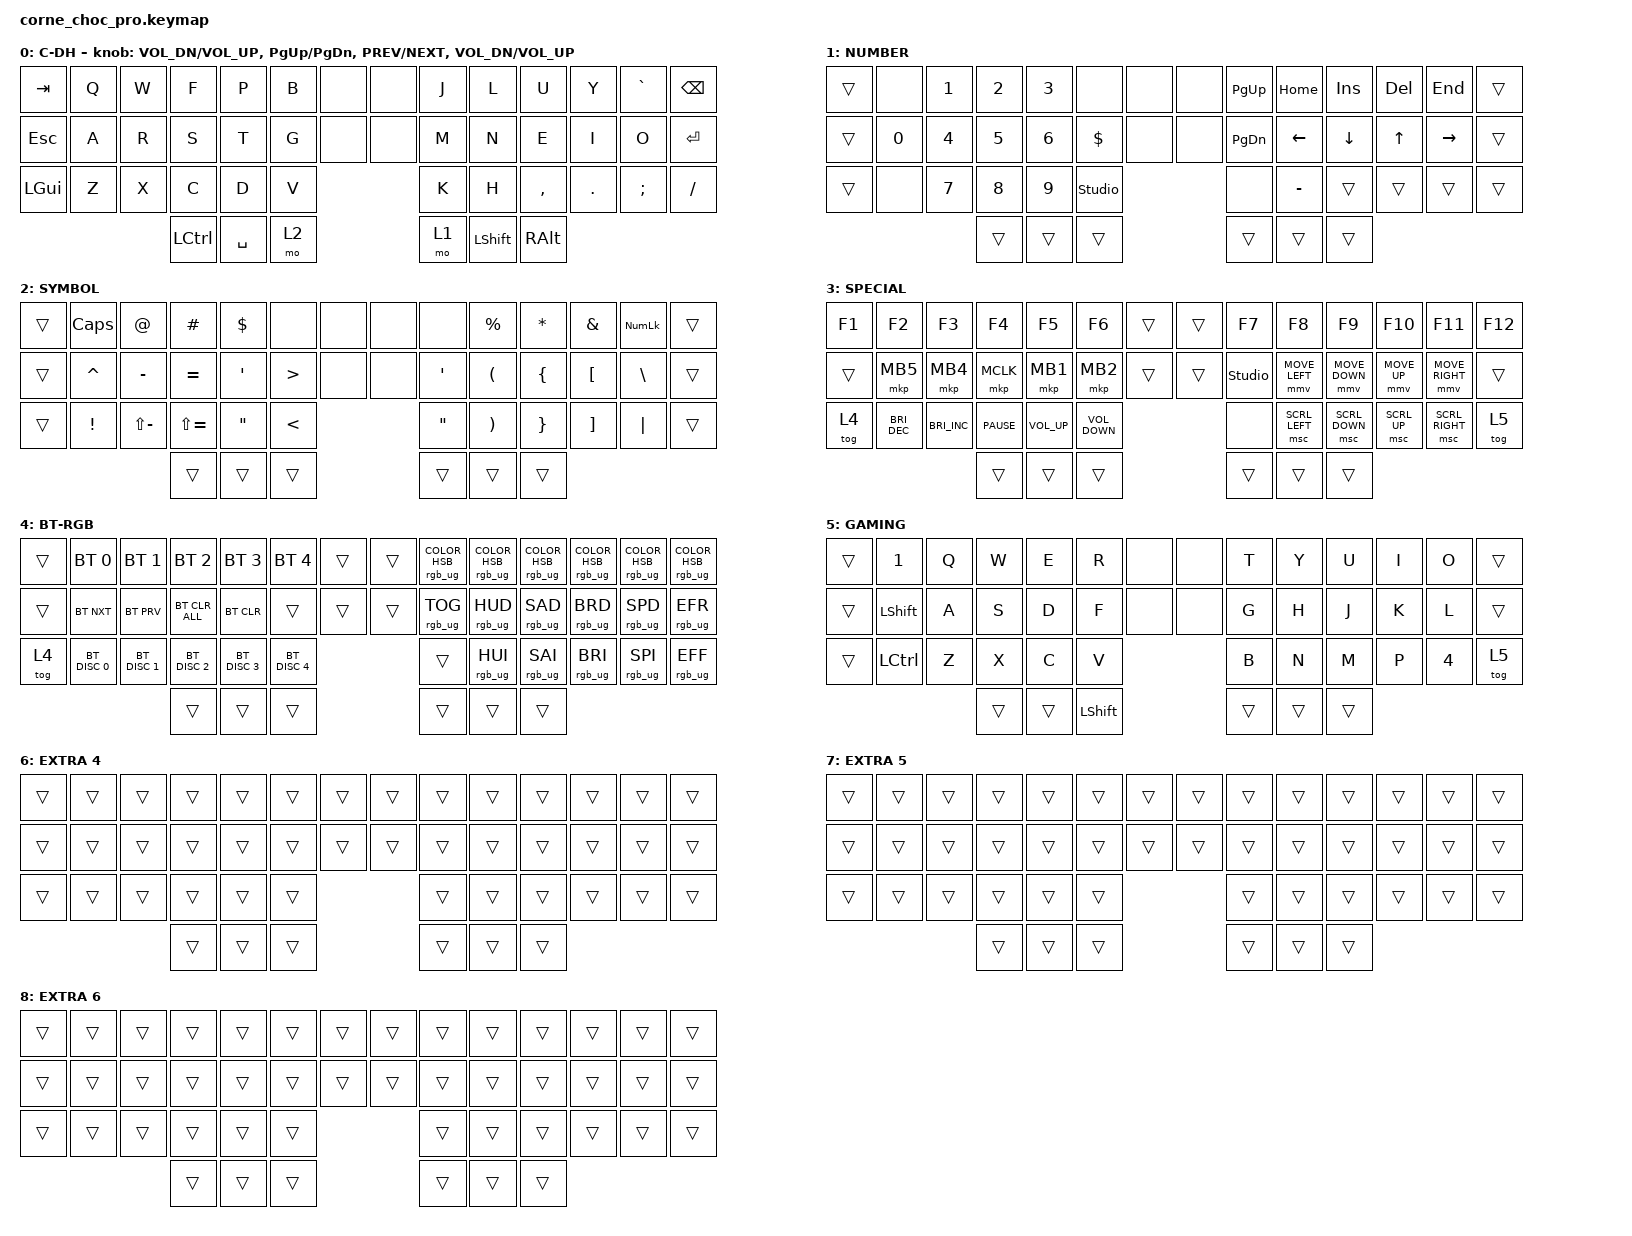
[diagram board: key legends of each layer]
#define ZMK_POINTING_DEFAULT_MOVE_VAL 1000  // default: 600
#define ZMK_POINTING_DEFAULT_SCRL_VAL 50    // default: 10

#include <behaviors.dtsi>
#include <dt-bindings/zmk/bt.h>
#include <dt-bindings/zmk/keys.h>
#include <dt-bindings/zmk/pointing.h>
#include <dt-bindings/zmk/rgb.h>

/ {
    chosen { zmk,physical-layout = &default_layout; };

    combos {
        compatible = "zmk,combos";

        layer_toggle {
            bindings = <&mo 3>;
            key-positions = <43 42>;
        };
    };

    keymap {
        compatible = "zmk,keymap";

        default_layer {
            display-name = "C-DH";
            bindings = <
&kp TAB       &kp Q  &kp W  &kp F             &kp P      &kp B  &none  &none  &kp J  &kp L           &kp U      &kp Y    &kp GRAVE  &kp BSPC
&kp ESCAPE    &kp A  &kp R  &kp S             &kp T      &kp G  &none  &none  &kp M  &kp N           &kp E      &kp I    &kp O      &kp ENTER
&kp LEFT_GUI  &kp Z  &kp X  &kp C             &kp D      &kp V                &kp K  &kp H           &kp COMMA  &kp DOT  &kp SEMI   &kp SLASH
                            &kp LEFT_CONTROL  &kp SPACE  &mo 2                &mo 1  &kp LEFT_SHIFT  &kp RALT
            >;

            sensor-bindings = <&inc_dec_kp C_VOL_DN C_VOL_UP &inc_dec_kp PG_UP PG_DN &inc_dec_kp C_PREV C_NEXT &inc_dec_kp C_VOL_DN C_VOL_UP>;
        };

        lower_layer {
            display-name = "NUMBER";
            bindings = <
&trans  &none   &kp NUMBER_1  &kp NUMBER_2  &kp NUMBER_3  &none           &none  &none  &kp PAGE_UP    &kp HOME   &kp INS   &kp DEL       &kp END    &trans
&trans  &kp N0  &kp NUMBER_4  &kp N5        &kp NUMBER_6  &kp DOLLAR      &none  &none  &kp PAGE_DOWN  &kp LEFT   &kp DOWN  &kp UP_ARROW  &kp RIGHT  &trans
&trans  &none   &kp N7        &kp N8        &kp N9        &studio_unlock                &none          &kp MINUS  &trans    &trans        &trans     &trans
                              &trans        &trans        &trans                        &trans         &trans     &trans
            >;
        };

        raise_layer {
            display-name = "SYMBOL";
            bindings = <
&trans  &kp CAPSLOCK  &kp AT         &kp HASH       &kp DLLR           &none             &none  &none  &none              &kp PERCENT            &kp ASTERISK     &kp AMPERSAND      &kp KP_NUMLOCK  &trans
&trans  &kp CARET     &kp MINUS      &kp EQUAL      &kp SINGLE_QUOTE   &kp GREATER_THAN  &none  &none  &kp SINGLE_QUOTE   &kp LEFT_PARENTHESIS   &kp LEFT_BRACE   &kp LEFT_BRACKET   &kp BSLH        &trans
&trans  &kp EXCL      &kp LS(MINUS)  &kp LS(EQUAL)  &kp DOUBLE_QUOTES  &kp LESS_THAN                   &kp DOUBLE_QUOTES  &kp RIGHT_PARENTHESIS  &kp RIGHT_BRACE  &kp RIGHT_BRACKET  &kp PIPE        &trans
                                     &trans         &trans             &trans                          &trans             &trans                 &trans
            >;
        };

        SPECIAL {
            display-name = "SPECIAL";
            bindings = <
&kp F1  &kp F2                &kp F3                &kp F4       &kp F5           &kp F6             &trans  &trans  &kp F7          &kp F8          &kp F9          &kp F10       &kp F11          &kp F12
&trans  &mkp MB5              &mkp MB4              &mkp MCLK    &mkp MB1         &mkp MB2           &trans  &trans  &studio_unlock  &mmv MOVE_LEFT  &mmv MOVE_DOWN  &mmv MOVE_UP  &mmv MOVE_RIGHT  &trans
&tog 4  &kp C_BRIGHTNESS_DEC  &kp C_BRIGHTNESS_INC  &kp C_PAUSE  &kp C_VOLUME_UP  &kp C_VOLUME_DOWN                  &none           &msc SCRL_LEFT  &msc SCRL_DOWN  &msc SCRL_UP  &msc SCRL_RIGHT  &tog 5
                                                    &trans       &trans           &trans                             &trans          &trans          &trans
            >;
        };

        BT-RGB {
            display-name = "BT-RGB";
            bindings = <
&trans  &bt BT_SEL 0   &bt BT_SEL 1   &bt BT_SEL 2    &bt BT_SEL 3   &bt BT_SEL 4   &trans  &trans  &rgb_ug RGB_COLOR_HSB(0,67,47)  &rgb_ug RGB_COLOR_HSB(221,82,50)  &rgb_ug RGB_COLOR_HSB(115,81,46)  &rgb_ug RGB_COLOR_HSB(54,86,54)  &rgb_ug RGB_COLOR_HSB(287,100,55)  &rgb_ug RGB_COLOR_HSB(178,100,50)
&trans  &bt BT_NXT     &bt BT_PRV     &bt BT_CLR_ALL  &bt BT_CLR     &trans         &trans  &trans  &rgb_ug RGB_TOG                 &rgb_ug RGB_HUD                   &rgb_ug RGB_SAD                   &rgb_ug RGB_BRD                  &rgb_ug RGB_SPD                    &rgb_ug RGB_EFR
&tog 4  &bt BT_DISC 0  &bt BT_DISC 1  &bt BT_DISC 2   &bt BT_DISC 3  &bt BT_DISC 4                  &trans                          &rgb_ug RGB_HUI                   &rgb_ug RGB_SAI                   &rgb_ug RGB_BRI                  &rgb_ug RGB_SPI                    &rgb_ug RGB_EFF
                                      &trans          &trans         &trans                         &trans                          &trans                            &trans
            >;
        };

        GAMING {
            display-name = "GAMING";
            bindings = <
&trans  &kp NUMBER_1      &kp Q  &kp W   &kp E   &kp R           &none  &none  &kp T   &kp Y   &kp U   &kp I  &kp O         &trans
&trans  &kp LEFT_SHIFT    &kp A  &kp S   &kp D   &kp F           &none  &none  &kp G   &kp H   &kp J   &kp K  &kp L         &trans
&trans  &kp LEFT_CONTROL  &kp Z  &kp X   &kp C   &kp V                         &kp B   &kp N   &kp M   &kp P  &kp NUMBER_4  &tog 5
                                 &trans  &trans  &kp LEFT_SHIFT                &trans  &trans  &trans
            >;
        };

        extra_layer_4 {
            display-name = "EXTRA 4";
            bindings = <
&trans  &trans  &trans  &trans  &trans  &trans  &trans  &trans  &trans  &trans  &trans  &trans  &trans  &trans
&trans  &trans  &trans  &trans  &trans  &trans  &trans  &trans  &trans  &trans  &trans  &trans  &trans  &trans
&trans  &trans  &trans  &trans  &trans  &trans                  &trans  &trans  &trans  &trans  &trans  &trans
                        &trans  &trans  &trans                  &trans  &trans  &trans
            >;
        };

        extra_layer_5 {
            display-name = "EXTRA 5";
            bindings = <
&trans  &trans  &trans  &trans  &trans  &trans  &trans  &trans  &trans  &trans  &trans  &trans  &trans  &trans
&trans  &trans  &trans  &trans  &trans  &trans  &trans  &trans  &trans  &trans  &trans  &trans  &trans  &trans
&trans  &trans  &trans  &trans  &trans  &trans                  &trans  &trans  &trans  &trans  &trans  &trans
                        &trans  &trans  &trans                  &trans  &trans  &trans
            >;
        };

        extra_layer_6 {
            display-name = "EXTRA 6";
            bindings = <
&trans  &trans  &trans  &trans  &trans  &trans  &trans  &trans  &trans  &trans  &trans  &trans  &trans  &trans
&trans  &trans  &trans  &trans  &trans  &trans  &trans  &trans  &trans  &trans  &trans  &trans  &trans  &trans
&trans  &trans  &trans  &trans  &trans  &trans                  &trans  &trans  &trans  &trans  &trans  &trans
                        &trans  &trans  &trans                  &trans  &trans  &trans
            >;
        };
    };
};
